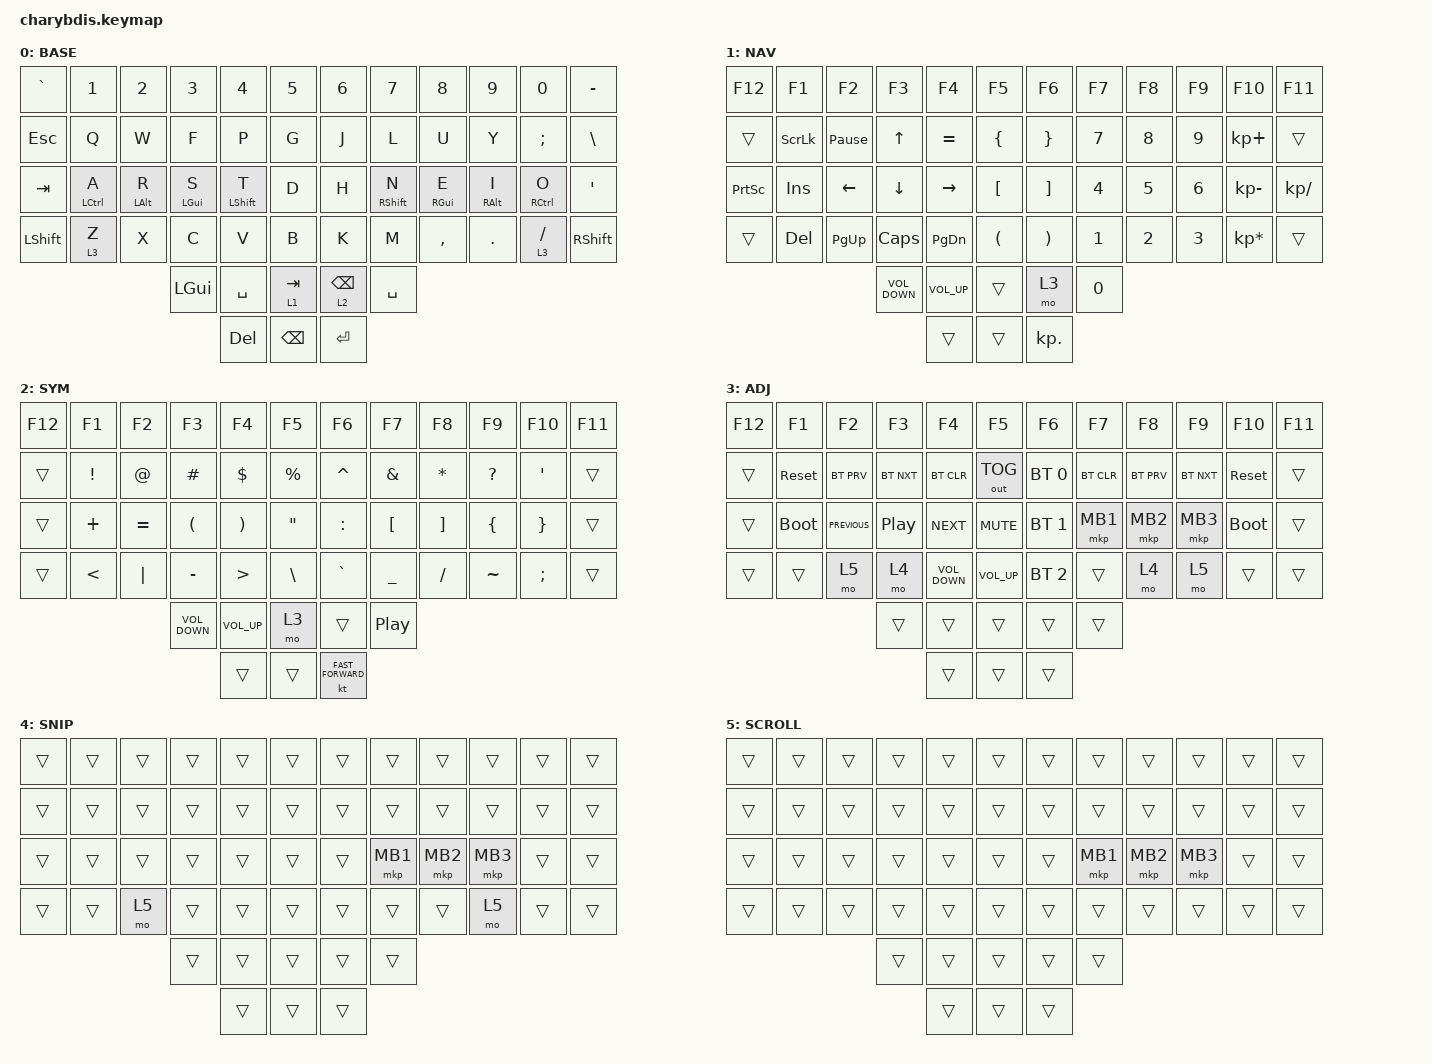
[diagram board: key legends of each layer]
#include <dt-bindings/zmk/mouse.h>
#include <behaviors/mouse_keys.dtsi>
#include <behaviors.dtsi>
#include <dt-bindings/zmk/bt.h>
#include <dt-bindings/zmk/keys.h>
#include <dt-bindings/zmk/outputs.h>
#include <dt-bindings/zmk/pointing.h>

/ {
    chosen { zmk,matrix_transform = &default_transform; };
};

&mt {
    quick-tap-ms = <200>;
    flavor = "tap-preferred";
    tapping-term-ms = <170>;
};

&lt {
    quick-tap-ms = <200>;
    flavor = "tap-preferred";
    tapping-term-ms = <170>;
};

/ {
    combos {
        compatible = "zmk,combos";

        combo_esc {
            timeout-ms = <50>;
            key-positions = <0 1>;
            bindings = <&kp ESC>;
        };
    };

    keymap {
        compatible = "zmk,keymap";

        BASE {
            bindings = <
&kp GRAVE   &kp N1       &kp N2         &kp N3      &kp N4        &kp N5         &kp N6           &kp N7        &kp N8      &kp N9       &kp N0       &kp MINUS
&kp ESC     &kp Q        &kp W          &kp F       &kp P         &kp G          &kp J            &kp L         &kp U       &kp Y        &kp SEMI     &kp BACKSLASH
&kp TAB     &mt LCTRL A  &mt LALT R     &mt LGUI S  &mt LSHIFT T  &kp D          &kp H            &mt RSHIFT N  &mt RGUI E  &mt RALT I   &mt RCTRL O  &kp APOS
&kp LSHIFT  &lt 3 Z      &kp X          &kp C       &kp V         &kp B          &kp K            &kp M         &kp COMMA   &kp DOT      &lt 3 SLASH  &kp RSHIFT
                                        &kp LGUI    &kp SPACE     &lt 1 TAB      &lt 2 BACKSPACE  &kp SPACE                 
                                                    &kp DEL       &kp BACKSPACE  &kp ENTER 
            >;
        };

        NAV {
            bindings = <
&kp F12          &kp F1          &kp F2            &kp F3            &kp F4           &kp F5    &kp F6    &kp F7  &kp F8  &kp F9  &kp F10          &kp F11
&trans           &kp SCROLLLOCK  &kp PAUSE_BREAK   &kp UP            &kp EQUAL        &kp LBRC  &kp RBRC  &kp N7  &kp N8  &kp N9  &kp KP_PLUS      &trans
&kp PRINTSCREEN  &kp INSERT      &kp LEFT          &kp DOWN          &kp RIGHT        &kp LBKT  &kp RBKT  &kp N4  &kp N5  &kp N6  &kp KP_MINUS     &kp KP_DIVIDE
&trans           &kp DEL         &kp PG_UP         &kp CAPS          &kp PG_DN        &kp LPAR  &kp RPAR  &kp N1  &kp N2  &kp N3  &kp KP_MULTIPLY  &trans
                                                   &kp C_VOLUME_DOWN &kp C_VOLUME_UP  &trans    &mo 3     &kp N0
                                                                     &trans           &trans    &kp KP_DOT
            >;
        };

        SYM {
            bindings = <
&kp F12  &kp F1         &kp F2     &kp F3             &kp F4            &kp F5         &kp F6              &kp F7            &kp F8     &kp F9        &kp F10        &kp F11
&trans   &kp EXCL       &kp AT     &kp HASH           &kp DLLR          &kp PRCNT      &kp CARET           &kp AMPS          &kp STAR   &kp QUESTION  &kp SQT        &trans
&trans   &kp PLUS       &kp EQUAL  &kp LPAR           &kp RPAR          &kp DQT        &kp COLON           &kp LBKT &kp RBKT &kp LBRC      &kp RBRC       &trans
&trans   &kp LESS_THAN  &kp PIPE   &kp MINUS          &kp GREATER_THAN  &kp BACKSLASH  &kp GRAVE           &kp UNDERSCORE    &kp SLASH  &kp TILDE     &kp SEMICOLON  &trans
                                   &kp C_VOLUME_DOWN  &kp C_VOLUME_UP   &mo 3          &trans              &kp C_PLAY_PAUSE             
                                                      &trans           &trans          &kt C_FAST_FORWARD 
            >;
        };

        ADJ {
            bindings = <
&kp F12  &kp F1       &kp F2          &kp F3            &kp F4             &kp F5           &kp F6                &kp F7      &kp F8      &kp F9      &kp F10      &kp F11
&trans   &sys_reset   &bt BT_PRV      &bt BT_NXT        &bt BT_CLR         &out OUT_TOG     &bt BT_SEL 0  &bt BT_CLR  &bt BT_PRV  &bt BT_NXT  &sys_reset   &trans
&trans   &bootloader  &kp C_PREVIOUS  &kp C_PLAY_PAUSE  &kp C_NEXT         &kp C_MUTE       &bt BT_SEL 1  &mkp MB1    &mkp MB2    &mkp MB3    &bootloader  &trans
&trans   &trans       &mo 5           &mo 4             &kp C_VOLUME_DOWN  &kp C_VOLUME_UP  &bt BT_SEL 2  &trans      &mo 4       &mo 5       &trans       &trans
                                      &trans            &trans             &trans           &trans        &trans     
                                                        &trans             &trans           &trans
            >;
        };

        SNIP {
            bindings = <
&trans  &trans  &trans  &trans  &trans  &trans          &trans  &trans    &trans    &trans    &trans  &trans
&trans  &trans  &trans  &trans  &trans  &trans          &trans  &trans    &trans    &trans    &trans  &trans
&trans  &trans  &trans  &trans  &trans  &trans          &trans  &mkp MB1  &mkp MB2  &mkp MB3  &trans  &trans
&trans  &trans  &mo 5   &trans  &trans  &trans          &trans  &trans    &trans    &mo 5     &trans  &trans
                        &trans  &trans  &trans          &trans  &trans  
                                &trans  &trans          &trans
            >;
        };

        SCROLL {
            bindings = <
&trans  &trans  &trans  &trans  &trans  &trans          &trans  &trans    &trans    &trans    &trans  &trans
&trans  &trans  &trans  &trans  &trans  &trans          &trans  &trans    &trans    &trans    &trans  &trans
&trans  &trans  &trans  &trans  &trans  &trans          &trans  &mkp MB1  &mkp MB2  &mkp MB3  &trans  &trans
&trans  &trans  &trans  &trans  &trans  &trans          &trans  &trans    &trans    &trans    &trans  &trans
                        &trans  &trans  &trans          &trans  &trans  
                                &trans  &trans          &trans
            >;
        };
    };
};
